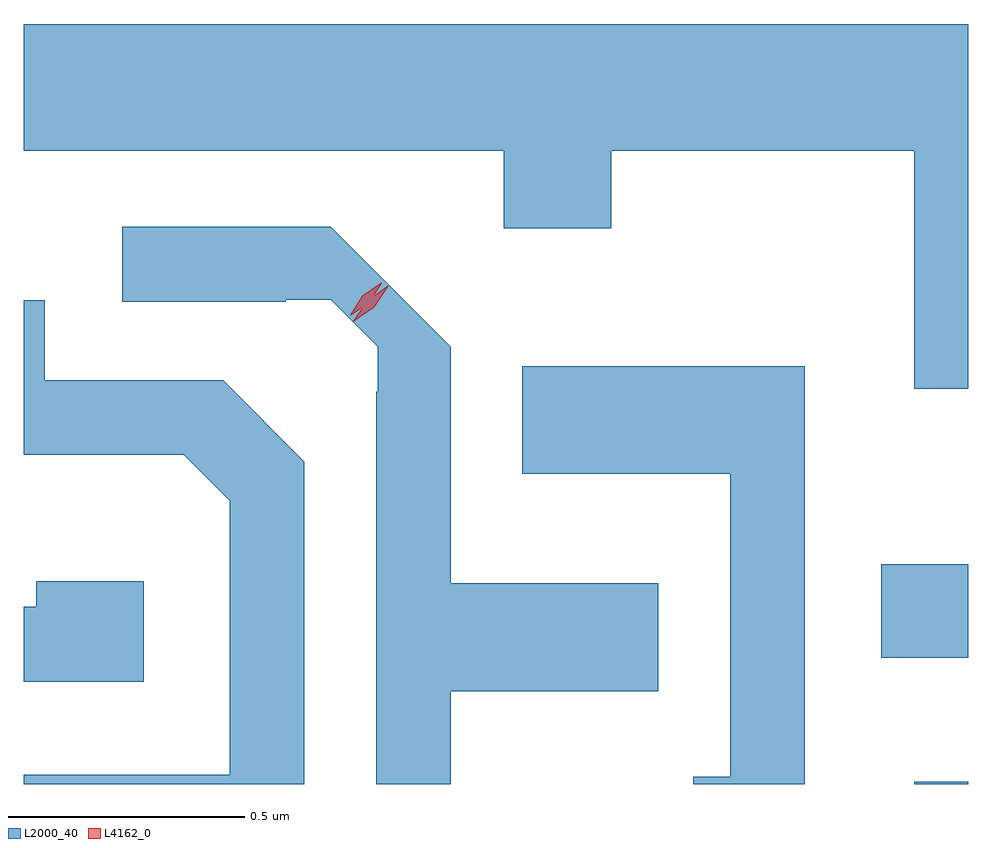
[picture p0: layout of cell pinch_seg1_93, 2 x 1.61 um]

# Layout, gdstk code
import gdstk
lib = gdstk.Library(unit=1e-6, precision=1e-09)
def R(c, l, rs):  # rectangles x0, y0, x1, y1
    for r in rs: c.add(gdstk.rectangle(r[:2], r[2:], *l))
def P(c, l, *ps):  # polygons
    for p in ps: c.add(gdstk.Polygon(p, *l))
L2000_40 = (2000, 40)
L4162_0 = (4162, 0)

pinch_seg1_93 = lib.new_cell('pinch_seg1_93')
R(pinch_seg1_93, L2000_40, [(1024.711,849.394,1024.825,849.399), (1024.641,849.661,1024.825,849.859)])
P(pinch_seg1_93, L2000_40, [(1024.825,851.004),(1022.825,851.004),(1022.825,850.736),(1023.841,850.736),(1023.841,850.571),(1024.069,850.571),(1024.069,850.736),(1024.711,850.736),(1024.711,850.231),(1024.825,850.231)],
  [(1023.729,849.591),(1024.169,849.591),(1024.169,849.819),(1023.729,849.819),(1023.729,850.32),(1023.475,850.574),(1023.033,850.574),(1023.033,850.416),(1023.38,850.416),(1023.38,850.42),(1023.475,850.42),(1023.575,850.32),(1023.575,850.225),(1023.571,850.225),(1023.571,849.394),(1023.729,849.394)],
  [(1023.419,850.077),(1023.247,850.249),(1022.869,850.249),(1022.869,850.419),(1022.825,850.419),(1022.825,850.091),(1023.164,850.091),(1023.261,849.994),(1023.261,849.414),(1022.825,849.414),(1022.825,849.394),(1023.419,849.394)],
  [(1024.479,850.279),(1023.881,850.279),(1023.881,850.051),(1024.321,850.051),(1024.321,849.409),(1024.243,849.409),(1024.243,849.394),(1024.479,849.394)],
  [(1023.079,849.824),(1022.851,849.824),(1022.851,849.769),(1022.825,849.769),(1022.825,849.611),(1023.079,849.611)])
P(pinch_seg1_93, L4162_0, [(1023.522,850.373),(1023.522,850.373),(1023.552,850.418),(1023.596,850.449),(1023.597,850.449),(1023.597,850.448),(1023.567,850.404),(1023.523,850.373)],
  [(1023.516,850.386),(1023.516,850.387),(1023.542,850.428),(1023.582,850.456),(1023.583,850.456),(1023.583,850.455),(1023.556,850.414),(1023.516,850.386)])

lib.write_gds('pinch_seg1_93.gds')
